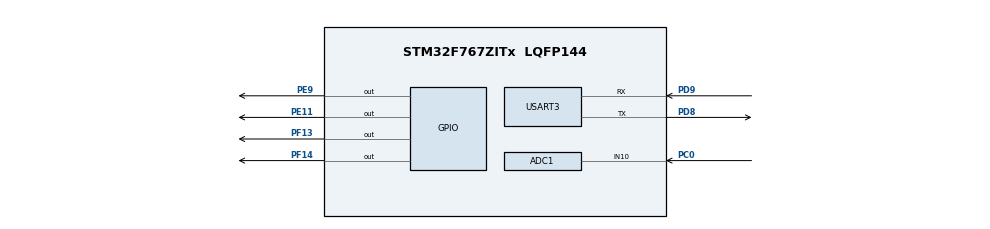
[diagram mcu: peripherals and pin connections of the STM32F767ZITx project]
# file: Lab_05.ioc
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ADC1.Channel-0\#ChannelRegularConversion=ADC_CHANNEL_10
ADC1.ContinuousConvMode=ENABLE
ADC1.DataAlign=ADC_DATAALIGN_LEFT
ADC1.EOCSelection=ADC_EOC_SEQ_CONV
ADC1.NbrOfConversionFlag=1
ADC1.Rank-0\#ChannelRegularConversion=1
ADC1.SamplingTime-0\#ChannelRegularConversion=ADC_SAMPLETIME_3CYCLES
ADC1.master=1
CORTEX_M7.default_mode_Activation=1
Mcu.Family=STM32F7
Mcu.Name=STM32F767ZITx
Mcu.Package=LQFP144
NVIC.PriorityGroup=NVIC_PRIORITYGROUP_4
PC0.Signal=ADCx_IN10
PD8.Mode=Asynchronous
PD8.Signal=USART3_TX
PD9.Mode=Asynchronous
PD9.Signal=USART3_RX
PE11.Signal=GPIO_Output
PE9.Signal=GPIO_Output
PF13.Signal=GPIO_Output
PF14.Signal=GPIO_Output
ProjectManager.HeapSize=0x200
ProjectManager.StackSize=0x400
ProjectManager.TargetToolchain=STM32CubeIDE
RCC.HSE_VALUE=25000000
RCC.HSI_VALUE=16000000
RCC.LSE_VALUE=32768
RCC.USBFreq_Value=96000000
RCC.VCOOutputFreq_Value=192000000
SH.ADCx_IN10.0=ADC1_IN10,IN10
USART3.VirtualMode-Asynchronous=VM_ASYNC
board=custom

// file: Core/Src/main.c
/* USER CODE BEGIN Header */
/**
  ******************************************************************************
  * @file           : main.c
  * @brief          : Main program body
  ******************************************************************************
  * @attention
  *
  * Copyright (c) 2025 STMicroelectronics.
  * All rights reserved.
  *
  * This software is licensed under terms that can be found in the LICENSE file
  * in the root directory of this software component.
  * If no LICENSE file comes with this software, it is provided AS-IS.
  *
  ******************************************************************************
  */
/* USER CODE END Header */
#include "main.h"
#include "adc.h"
#include "usart.h"
#include "gpio.h"

/* USER CODE BEGIN PV */
volatile uint32_t adc_val = 0;
volatile float adc_avg_8;
volatile float adc_avg_16;

/* USER CODE END PV */

void SystemClock_Config(void);
static void MPU_Config(void);

/* USER CODE BEGIN 0 */
int average_8(int x){

 static int samples[8];
 static int i = 0;
 static int total = 0;

 total +=  x-samples[i];
 samples[i] = x;

 i = (i==7 ? 0 : i+1);

 return total>>3;

}

int average_16(int x){

 static int samples[16];
 static int i = 0;
 static int total = 0;

 total +=  x-samples[i];
 samples[i] = x;

 i = (i==15 ? 0 : i+1);

 return total>>4;
}

float cal_volt(uint32_t x){
 return (x*3.3f)/4095.0f;
}

void displayHEX(uint32_t value){
	// 10->16
	float volt = cal_volt(value);
	char show[100];
	sprintf(show, "ADC1_CH10 0x%08X Vin = %.2f \r\n", value, volt);
	HAL_UART_Transmit(&huart3, (uint8_t *) show, strlen(show), 100);

	// uart
	HAL_Delay(400);
}
/* USER CODE END 0 */

int main(void)
{

  /* MPU Configuration--------------------------------------------------------*/
  MPU_Config();

  /* MCU Configuration--------------------------------------------------------*/

  /* Reset of all peripherals, Initializes the Flash interface and the Systick. */
  HAL_Init();

  /* Configure the system clock */
  SystemClock_Config();

  /* Initialize all configured peripherals */
  MX_GPIO_Init();
  MX_ADC1_Init();
  MX_USART3_UART_Init();
  /* USER CODE BEGIN 2 */
  HAL_ADC_Start(&hadc1);
  /* USER CODE END 2 */

  /* Infinite loop */
  /* USER CODE BEGIN WHILE */
  while (1)
  {

	  while( HAL_ADC_PollForConversion(&hadc1, 100)!= HAL_OK){}
	  	  adc_val = HAL_ADC_GetValue(&hadc1);
	  	  displayHEX(adc_val);

	  	  adc_avg_8 = average_8(adc_val);
	  	  adc_avg_16 = average_16(adc_val);

	  	  if (adc_val >= 52416){
	  		  HAL_GPIO_WritePin(GPIOF, GPIO_PIN_13, GPIO_PIN_SET);
	  		  HAL_GPIO_WritePin(GPIOE, GPIO_PIN_9, GPIO_PIN_SET);
	  		  HAL_GPIO_WritePin(GPIOE, GPIO_PIN_11, GPIO_PIN_SET);
	  		  HAL_GPIO_WritePin(GPIOF, GPIO_PIN_14, GPIO_PIN_SET);

	  	  }else if(adc_val >= 39312){
	  		  HAL_GPIO_WritePin(GPIOF, GPIO_PIN_13, GPIO_PIN_SET);
	  		  HAL_GPIO_WritePin(GPIOE, GPIO_PIN_9, GPIO_PIN_SET);
	  		  HAL_GPIO_WritePin(GPIOE, GPIO_PIN_11, GPIO_PIN_SET);
	  		  HAL_GPIO_WritePin(GPIOF, GPIO_PIN_14, GPIO_PIN_RESET);
	  	  } else if (adc_val >= 26208) {
	  		  HAL_GPIO_WritePin(GPIOF, GPIO_PIN_13, GPIO_PIN_SET);
	  		  HAL_GPIO_WritePin(GPIOE, GPIO_PIN_9, GPIO_PIN_SET);
	  		  HAL_GPIO_WritePin(GPIOE, GPIO_PIN_11, GPIO_PIN_RESET);
	  		  HAL_GPIO_WritePin(GPIOF, GPIO_PIN_14, GPIO_PIN_RESET);
	  	  } else if (adc_val >= 13104) {
	  		  HAL_GPIO_WritePin(GPIOF, GPIO_PIN_13, GPIO_PIN_SET);
	  		  HAL_GPIO_WritePin(GPIOE, GPIO_PIN_9, GPIO_PIN_RESET);
	  		  HAL_GPIO_WritePin(GPIOE, GPIO_PIN_11, GPIO_PIN_RESET);
	  		  HAL_GPIO_WritePin(GPIOF, GPIO_PIN_14, GPIO_PIN_RESET);
	  	  } else if (adc_val < 13104){
	  		  HAL_GPIO_WritePin(GPIOF, GPIO_PIN_13, GPIO_PIN_RESET);
	  		  HAL_GPIO_WritePin(GPIOE, GPIO_PIN_9, GPIO_PIN_RESET);
	  		  HAL_GPIO_WritePin(GPIOE, GPIO_PIN_11, GPIO_PIN_RESET);
	  		  HAL_GPIO_WritePin(GPIOF, GPIO_PIN_14, GPIO_PIN_RESET);
	  	  }
    /* USER CODE END WHILE */

  }
}

void SystemClock_Config(void)
{
  RCC_OscInitTypeDef RCC_OscInitStruct = {0};
  RCC_ClkInitTypeDef RCC_ClkInitStruct = {0};

  /** Configure the main internal regulator output voltage
  */
  __HAL_RCC_PWR_CLK_ENABLE();
  __HAL_PWR_VOLTAGESCALING_CONFIG(PWR_REGULATOR_VOLTAGE_SCALE3);

  /** Initializes the RCC Oscillators according to the specified parameters
  * in the RCC_OscInitTypeDef structure.
  */
  RCC_OscInitStruct.OscillatorType = RCC_OSCILLATORTYPE_HSI;
  RCC_OscInitStruct.HSIState = RCC_HSI_ON;
  RCC_OscInitStruct.HSICalibrationValue = RCC_HSICALIBRATION_DEFAULT;
  RCC_OscInitStruct.PLL.PLLState = RCC_PLL_NONE;
  if (HAL_RCC_OscConfig(&RCC_OscInitStruct) != HAL_OK)
  {
    Error_Handler();
  }

  /** Initializes the CPU, AHB and APB buses clocks
  */
  RCC_ClkInitStruct.ClockType = RCC_CLOCKTYPE_HCLK|RCC_CLOCKTYPE_SYSCLK
                              |RCC_CLOCKTYPE_PCLK1|RCC_CLOCKTYPE_PCLK2;
  RCC_ClkInitStruct.SYSCLKSource = RCC_SYSCLKSOURCE_HSI;
  RCC_ClkInitStruct.AHBCLKDivider = RCC_SYSCLK_DIV1;
  RCC_ClkInitStruct.APB1CLKDivider = RCC_HCLK_DIV1;
  RCC_ClkInitStruct.APB2CLKDivider = RCC_HCLK_DIV1;

  if (HAL_RCC_ClockConfig(&RCC_ClkInitStruct, FLASH_LATENCY_0) != HAL_OK)
  {
    Error_Handler();
  }
}

 /* MPU Configuration */

void MPU_Config(void)
{
  MPU_Region_InitTypeDef MPU_InitStruct = {0};

  /* Disables the MPU */
  HAL_MPU_Disable();

  /** Initializes and configures the Region and the memory to be protected
  */
  MPU_InitStruct.Enable = MPU_REGION_ENABLE;
  MPU_InitStruct.Number = MPU_REGION_NUMBER0;
  MPU_InitStruct.BaseAddress = 0x0;
  MPU_InitStruct.Size = MPU_REGION_SIZE_4GB;
  MPU_InitStruct.SubRegionDisable = 0x87;
  MPU_InitStruct.TypeExtField = MPU_TEX_LEVEL0;
  MPU_InitStruct.AccessPermission = MPU_REGION_NO_ACCESS;
  MPU_InitStruct.DisableExec = MPU_INSTRUCTION_ACCESS_DISABLE;
  MPU_InitStruct.IsShareable = MPU_ACCESS_SHAREABLE;
  MPU_InitStruct.IsCacheable = MPU_ACCESS_NOT_CACHEABLE;
  MPU_InitStruct.IsBufferable = MPU_ACCESS_NOT_BUFFERABLE;

  HAL_MPU_ConfigRegion(&MPU_InitStruct);
  /* Enables the MPU */
  HAL_MPU_Enable(MPU_PRIVILEGED_DEFAULT);

}

void Error_Handler(void)
{
  __disable_irq();
  while (1)
  {
  }
}
